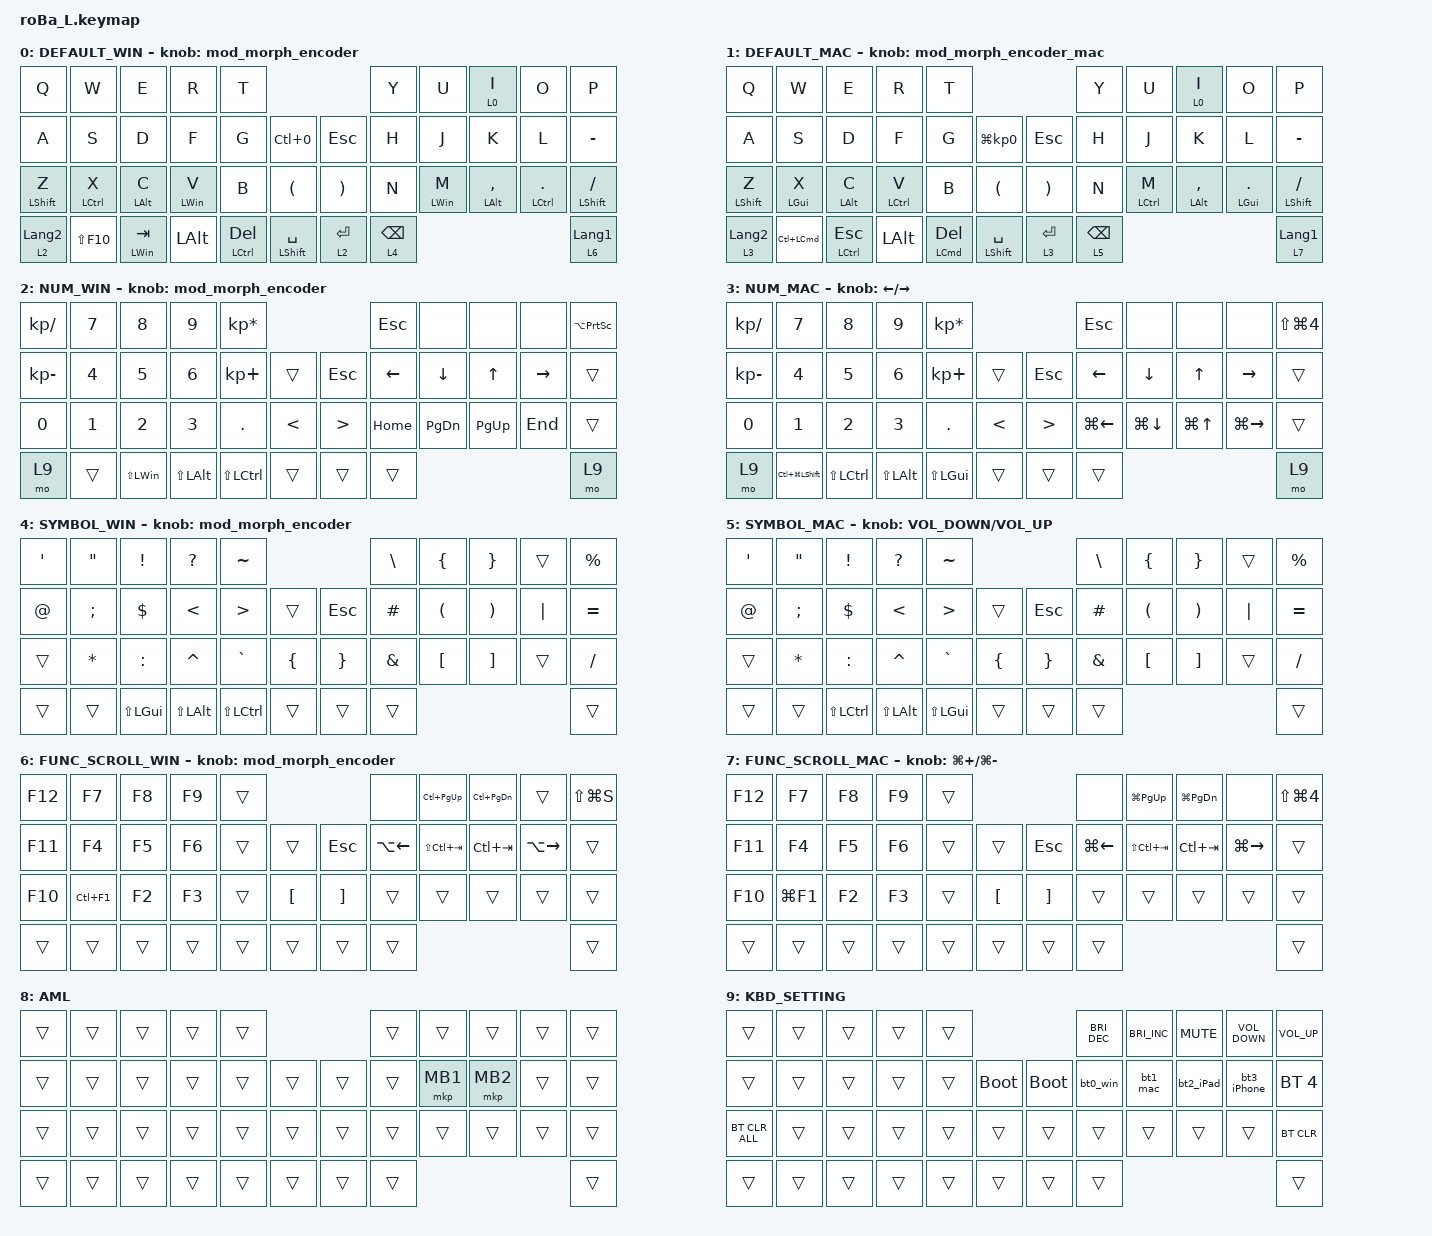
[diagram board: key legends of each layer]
#include <behaviors.dtsi>
#include <dt-bindings/zmk/bt.h>
#include <dt-bindings/zmk/keys.h>
#include <dt-bindings/zmk/pointing.h>

#define DEFAULT_WIN 0
#define DEFAULT_MAC 1
#define NUM_WIN 2
#define NUM_MAC 3
#define SYMBOL_WIN 4
#define SYMBOL_MAC 5
#define FUNC_SCROLL_WIN 6
#define FUNC_SCROLL_MAC 7
#define AML 8
#define KBD_SETTING 9

// ロータリーエンコーダー: スクロール量変更の定義を追記

#undef ZMK_POINTING_DEFAULT_SCRL_VAL  // 定義を削除
#define ZMK_POINTING_DEFAULT_SCRL_VAL 120

//マウスカーソルの挙動設定

&mmv {
    delay-ms = <20>;
    trigger-period-ms = <5>;
    time-to-max-speed-ms = <200>;

    // acceleration-exponent = <0>;
};

//マウススクロールの挙動設定

&msc {
    delay-ms = <3>;
    trigger-period-ms = <3>;
    time-to-max-speed-ms = <200>;

    // acceleration-exponent = <0>;
};

&mt {
    flavor = "balanced";
    tapping-term-ms = <180>;
    quick-tap-ms = <180>;
    hold-while-undecided;
};

&lt {
    flavor = "balanced";
    tapping-term-ms = <180>;
    quick-tap-ms = <180>;
    hold-while-undecided;
};

/ {
    combos {
        compatible = "zmk,combos";

        tab {
            bindings = <&kp TAB>;
            key-positions = <11 12>;
        };

        shift_tab {
            bindings = <&kp LS(TAB)>;
            key-positions = <12 13>;
        };

        Esc {
            bindings = <&kp ESCAPE>;
            key-positions = <0 1>;
        };

        middle_click {
            bindings = <&mkp MCLK>;
            key-positions = <18 19>;
        };

        backspace {
            bindings = <&kp BACKSPACE>;
            key-positions = <8 9>;
        };

        Globe {
            bindings = <&kp RIGHT_ALT>;
            key-positions = <34 42>;
        };
    };

    macros {
        to_layer_0: to_layer_0 {
            compatible = "zmk,behavior-macro-one-param";
            #binding-cells = <1>;
            bindings = <&to 0 &macro_param_1to1 &kp MACRO_PLACEHOLDER>;
            label = "TO_LAYER_0";
        };

        bt0_win: bt0 {
            compatible = "zmk,behavior-macro";
            #binding-cells = <0>;
            bindings =
                <&tog_off 1>,
                <&macro_wait_time 200>,
                <&bt BT_SEL 0 &bt BT_DISC 1 &bt BT_DISC 2 &bt BT_DISC 3 &bt BT_DISC 4>;

            label = "BT0";
        };

        bt1_mac: bt1 {
            compatible = "zmk,behavior-macro";
            #binding-cells = <0>;
            bindings =
                <&tog_off 1>,
                <&macro_wait_time 200>,
                <&bt BT_SEL 1 &bt BT_DISC 0 &bt BT_DISC 2 &bt BT_DISC 3 &bt BT_DISC 4>,
                <&macro_wait_time 500>,
                <&tog_on 1>;

            label = "BT1";
        };

        bt2_iPad: bt2_iPad {
            compatible = "zmk,behavior-macro";
            #binding-cells = <0>;
            bindings =
                <&tog_off 1>,
                <&macro_wait_time 200>,
                <&bt BT_SEL 2 &bt BT_DISC 0 &bt BT_DISC 1 &bt BT_DISC 3 &bt BT_DISC 4>,
                <&macro_wait_time 500>,
                <&tog_on 1>;

            label = "BT2_IPAD";
        };

        bt3_iPhone: bt3_iPhone {
            compatible = "zmk,behavior-macro";
            #binding-cells = <0>;
            bindings =
                <&tog_off 1>,
                <&macro_wait_time 200>,
                <&bt BT_SEL 3 &bt BT_DISC 0 &bt BT_DISC 1 &bt BT_DISC 2 &bt BT_DISC 4>,
                <&macro_wait_time 500>,
                <&tog_on 1>;

            label = "BT3_IPHONE";
        };

        // AML起動中にスクロールレイヤに入るためのマクロ(zaruSaruさん実装)

        to_scroll_layer_win: to_scroll_layer_win {
            compatible = "zmk,behavior-macro";
            #binding-cells = <0>;
            bindings =
                <&to FUNC_SCROLL_WIN>,
                <&macro_press>,
                <&mo FUNC_SCROLL_WIN>,
                <&macro_pause_for_release>,
                <&macro_release>,
                <&mo FUNC_SCROLL_WIN>;

            label = "TO_SCROLL_LAYER_WIN";
        };

        to_scroll_layer_mac: to_scroll_layer_mac {
            compatible = "zmk,behavior-macro";
            #binding-cells = <0>;
            bindings =
                <&to FUNC_SCROLL_MAC>,
                <&macro_press>,
                <&mo FUNC_SCROLL_MAC>,
                <&macro_pause_for_release>,
                <&macro_release>,
                <&mo FUNC_SCROLL_MAC>;

            label = "TO_SCROLL_LAYER_MAC";
        };

        // タップ時のみAML解除するための設定

        exit_AML: exit_AML {
            compatible = "zmk,behavior-macro";
            wait-ms = <0>;
            tap-ms = <0>;
            #binding-cells = <0>;
            bindings = <&tog_off AML>;
            label = "exit_AML";
        };

        kp_exit_AML: kp_exit_AML {
            compatible = "zmk,behavior-macro-one-param";
            wait-ms = <0>;
            tap-ms = <0>;
            #binding-cells = <1>;
            bindings = <&macro_param_1to1 &kp MACRO_PLACEHOLDER &exit_AML>;
            label = "KP_exit_AML";
        };
    };

    behaviors {
        lt_to_layer_0: lt_to_layer_0 {
            compatible = "zmk,behavior-hold-tap";
            label = "LAYER_TAP_TO_0";
            bindings = <&mo>, <&to_layer_0>;

            #binding-cells = <2>;
            tapping-term-ms = <200>;
        };

        // タップ時のみAML解除するための設定

        mt_exit_AML_on_tap: mt_exit_AML_on_tap {
            compatible = "zmk,behavior-hold-tap";
            label = "MT_exit_AML_ON_TAP";
            bindings = <&kp>, <&kp_exit_AML>;

            #binding-cells = <2>;
            tapping-term-ms = <200>;
            flavor = "balanced";
            quick-tap-ms = <200>;
        };

        // ロータリーエンコーダーでスクロールする設定
        // スクロール方向を逆にしたい場合は <&msc SCRL_DOWN> と <&msc SCRL_UP> を入れ替え
        // 使い方: 設定したいレイヤーに sensor-bindings = <&encoder_msc_down_up>; を追記
        // mac用

        encoder_msc_down_up: encoder_msc_down_up {
            compatible = "zmk,behavior-sensor-rotate";
            label = "ENCODER_MSC_DOWN_UP";
            #sensor-binding-cells = <0>;
            bindings = <&msc SCRL_DOWN>, <&msc SCRL_UP>;

            tap-ms = <20>;
        };

        //
        // windows用

        encoder_msc_up_down: encoder_msc_up_down {
            compatible = "zmk,behavior-sensor-rotate";
            label = "ENCODER_MSC_UP_DOWN";
            #sensor-binding-cells = <0>;
            bindings = <&msc SCRL_UP>, <&msc SCRL_DOWN>;

            tap-ms = <20>;
        };

        // Ctrl+スクロール (Windows用)

        encoder_msc_ctrl_up_down: encoder_msc_ctrl_up_down {
            compatible = "zmk,behavior-sensor-rotate";
            label = "ENCODER_MSC_CTRL_UP_DOWN";
            #sensor-binding-cells = <0>;
            bindings = <&sk LCTRL &msc SCRL_UP>, <&sk LCTRL &msc SCRL_DOWN>;
        };

        // 接続先に応じてデフォルトレイヤーを変更するための動作
        // zmk studioで接続先ごとにマクロ設定する。

        tog_on: toggle_layer_on_only {
            compatible = "zmk,behavior-toggle-layer";
            #binding-cells = <1>;
            display-name = "Toggle Layer On";
            toggle-mode = "on";
        };

        tog_off: toggle_layer_off_only {
            compatible = "zmk,behavior-toggle-layer";
            #binding-cells = <1>;
            display-name = "Toggle Layer Off";
            toggle-mode = "off";
        };

        // リピート付きのSpace and Shift

        sands: space_and_shift {
            compatible = "zmk,behavior-hold-tap";
            label = "SPACE_AND_SHIFT";
            #binding-cells = <2>;
            flavor = "tap-unless-interrupted";
            tapping-term-ms = <220>;
            quick-tap-ms = <125>;
            global-quick-tap;
            bindings = <&kp>, <&kp>;
        };

        mtandkp: mt_and_kp {
            compatible = "zmk,behavior-hold-tap";
            label = "MT_AND_KP";
            #binding-cells = <2>;
            flavor = "tap-unless-interrupted";
            tapping-term-ms = <220>;
            quick-tap-ms = <125>;
            global-quick-tap;
            bindings = <&mt>, <&kp>;
        };

        ltandkp: lt_and_kp {
            compatible = "zmk,behavior-hold-tap";
            label = "LT_AND_KP";
            #binding-cells = <2>;
            flavor = "tap-unless-interrupted";
            tapping-term-ms = <220>;
            quick-tap-ms = <125>;
            global-quick-tap;
            bindings = <&lt>, <&kp>;
        };

        // mod morphを使用したエンコーダーの挙動制御
        // Windows用
        // デフォルト: スクロール
        // Shift: Shift+←/→
        // Alt: Win+↑/↓
        // Ctrl: Win+←/→

        shift_p: shift_p {
            compatible = "zmk,behavior-mod-morph";
            #binding-cells = <0>;
            bindings = <&kp 0>, <&kp LG(LEFT)>;

            mods = <(MOD_LSFT|MOD_RSFT)>;
            keep-mods = <(MOD_LSFT)>;
        };

        shift_default_p: shift_default_p {
            compatible = "zmk,behavior-mod-morph";
            #binding-cells = <0>;
            bindings = <&msc SCRL_DOWN>, <&shift_p>;

            mods = <(MOD_LSFT|MOD_RSFT)>;
        };

        alt_p: alt_p {
            compatible = "zmk,behavior-mod-morph";
            #binding-cells = <0>;
            bindings = <&kp 0>, <&kp LG(UP)>;

            mods = <(MOD_LALT|MOD_RALT)>;
        };

        win_p: win_p {
            compatible = "zmk,behavior-mod-morph";
            #binding-cells = <0>;
            bindings = <&kp 0>, <&kp LG(LEFT)>;

            mods = <(MOD_LGUI|MOD_RGUI)>;
        };

        alt_win_p: alt_win_p {
            compatible = "zmk,behavior-mod-morph";
            #binding-cells = <0>;
            bindings = <&alt_p>, <&win_p>;

            mods = <(MOD_LGUI|MOD_RGUI)>;
        };

        mod_morph_encoder_p: mod_morph_encoder_p {
            compatible = "zmk,behavior-mod-morph";
            #binding-cells = <0>;
            bindings = <&shift_default_p>, <&alt_win_p>;

            mods = <(MOD_LALT|MOD_RALT|MOD_LGUI|MOD_RGUI)>;
        };

        shift_n: shift_n {
            compatible = "zmk,behavior-mod-morph";
            #binding-cells = <0>;
            bindings = <&kp 0>, <&kp LG(RIGHT)>;

            mods = <(MOD_LSFT|MOD_RSFT)>;
            keep-mods = <(MOD_LSFT)>;
        };

        shift_default_n: shift_default_n {
            compatible = "zmk,behavior-mod-morph";
            #binding-cells = <0>;
            bindings = <&msc SCRL_UP>, <&shift_n>;

            mods = <(MOD_LSFT|MOD_RSFT)>;
        };

        alt_n: alt_n {
            compatible = "zmk,behavior-mod-morph";
            #binding-cells = <0>;
            bindings = <&kp 0>, <&kp LG(DOWN)>;

            mods = <(MOD_LALT|MOD_RALT)>;
        };

        win_n: win_n {
            compatible = "zmk,behavior-mod-morph";
            #binding-cells = <0>;
            bindings = <&kp 0>, <&kp LG(RIGHT)>;

            mods = <(MOD_LGUI|MOD_RGUI)>;
        };

        alt_win_n: alt_win_n {
            compatible = "zmk,behavior-mod-morph";
            #binding-cells = <0>;
            bindings = <&alt_n>, <&win_n>;

            mods = <(MOD_LGUI|MOD_RGUI)>;
        };

        mod_morph_encoder_n: mod_morph_encoder_n {
            compatible = "zmk,behavior-mod-morph";
            #binding-cells = <0>;
            bindings = <&shift_default_n>, <&alt_win_n>;

            mods = <(MOD_LALT|MOD_RALT|MOD_LGUI|MOD_RGUI)>;
        };

        mod_morph_encoder: mod_morph_encoder {
            compatible = "zmk,behavior-sensor-rotate";
            #sensor-binding-cells = <0>;
            bindings = <&mod_morph_encoder_n>, <&mod_morph_encoder_p>;

            tap-ms = <20>;
        };

        // Mac用
        // デフォルト: スクロール
        // GUI: command + +/-
        // Shift: Shift+←/→
        // Alt: Win+↑/↓
        // Ctrl: Win+←/→
        // positive: 手前

        gui_p: gui_p {
            compatible = "zmk,behavior-mod-morph";
            #binding-cells = <0>;
            bindings = <&kp DELETE>, <&kp LG(PLUS)>;

            mods = <(MOD_LGUI|MOD_RGUI)>;

            // keep-mods = <(MOD_LGUI)>;
        };

        sftgui_default_p: sftgui_default_p {
            compatible = "zmk,behavior-mod-morph";
            #binding-cells = <0>;
            bindings = <&msc SCRL_DOWN>, <&gui_p>;

            mods = <(MOD_LGUI|MOD_RGUI|MOD_LSFT|MOD_RSFT)>;
        };

        ctrl_p: ctrl_p {
            compatible = "zmk,behavior-mod-morph";
            #binding-cells = <0>;
            bindings = <&kp 0>, <&kp LA(LC(LG(RIGHT)))>;

            mods = <(MOD_LCTL|MOD_RCTL)>;

            // keep-mods = <(MOD_LALT|MOD_LCTL)>;
        };

        opt_p: opt_p {
            compatible = "zmk,behavior-mod-morph";
            #binding-cells = <0>;
            bindings = <&kp 0>, <&kp LA(LC(LG(DOWN)))>;

            mods = <(MOD_LALT|MOD_RALT)>;

            // keep-mods = <(MOD_LALT|MOD_LCTL)>;
        };

        opt_ctrl_p: opt_ctrl_p {
            compatible = "zmk,behavior-mod-morph";
            #binding-cells = <0>;
            bindings = <&ctrl_p>, <&opt_p>;

            mods = <(MOD_LALT|MOD_RALT)>;
        };

        mod_morph_encoder_mac_p: mod_morph_encoder_mac_p {
            compatible = "zmk,behavior-mod-morph";
            #binding-cells = <0>;
            bindings = <&sftgui_default_p>, <&opt_ctrl_p>;

            mods = <(MOD_LALT|MOD_RALT|MOD_LCTL|MOD_RCTL)>;
        };

        // negative: 奥

        gui_n: gui_n {
            compatible = "zmk,behavior-mod-morph";
            #binding-cells = <0>;
            bindings = <&kp BACKSPACE>, <&kp LG(MINUS)>;

            mods = <(MOD_LGUI|MOD_RGUI)>;

            // keep-mods = <(MOD_LGUI)>;
        };

        sftgui_default_n: sftgui_default_n {
            compatible = "zmk,behavior-mod-morph";
            #binding-cells = <0>;
            bindings = <&msc SCRL_UP>, <&gui_n>;

            mods = <(MOD_LGUI|MOD_RGUI|MOD_LSFT|MOD_RSFT)>;
        };

        ctrl_n: ctrl_n {
            compatible = "zmk,behavior-mod-morph";
            #binding-cells = <0>;
            bindings = <&kp 0>, <&kp LA(LC(LG(LEFT)))>;

            mods = <(MOD_LCTL|MOD_RCTL)>;

            // keep-mods = <(MOD_LALT|MOD_LCTL)>;
        };

        opt_n: opt_n {
            compatible = "zmk,behavior-mod-morph";
            #binding-cells = <0>;
            bindings = <&kp 0>, <&kp LA(LC(LG(UP)))>;

            mods = <(MOD_LALT|MOD_RALT)>;

            // keep-mods = <(MOD_LALT|MOD_LCTL)>;
        };

        opt_ctrl_n: opt_ctrl_n {
            compatible = "zmk,behavior-mod-morph";
            #binding-cells = <0>;
            bindings = <&ctrl_n>, <&opt_n>;

            mods = <(MOD_LALT|MOD_RALT)>;
        };

        mod_morph_encoder_mac_n: mod_morph_encoder_mac_n {
            compatible = "zmk,behavior-mod-morph";
            #binding-cells = <0>;
            bindings = <&sftgui_default_n>, <&opt_ctrl_n>;

            mods = <(MOD_LALT|MOD_RALT|MOD_LCTL|MOD_RCTL)>;
        };

        mod_morph_encoder_mac: mod_morph_encoder_mac {
            compatible = "zmk,behavior-sensor-rotate";
            #sensor-binding-cells = <0>;
            bindings = <&mod_morph_encoder_mac_p>, <&mod_morph_encoder_mac_n>;

            tap-ms = <20>;
        };

        td_LT6_Lang1_and_MO4: td_LT6_Lang1_and_MO4 {
            compatible = "zmk,behavior-tap-dance";
            label = "TD_LT6_LANG1_AND_MO4";
            #binding-cells = <0>;
            bindings = <&lt 6 LANGUAGE_1>, <&mo 4>;

            tapping-term-ms = <240>;
        };

        td_mt_left_ctrl: td_mt_left_ctrl {
            compatible = "zmk,behavior-tap-dance";
            label = "TD_MT_LEFT_CTRL";
            #binding-cells = <0>;
            bindings =
                <&mt_exit_AML_on_tap LCTRL X>,
                <&mt_exit_AML_on_tap LS(LCTRL) X>;
        };

        td_mt_right_ctrl: td_mt_right_ctrl {
            compatible = "zmk,behavior-tap-dance";
            label = "TD_MT_RIGHT_CTRL";
            #binding-cells = <0>;
            bindings =
                <&mt_exit_AML_on_tap LCTRL PERIOD>,
                <&mt_exit_AML_on_tap LS(LCTRL) PERIOD>;
        };

        td_mt_left_alt: td_mt_left_alt {
            compatible = "zmk,behavior-tap-dance";
            label = "TD_MT_LEFT_ALT";
            #binding-cells = <0>;
            bindings =
                <&mt_exit_AML_on_tap LEFT_ALT C>,
                <&mt_exit_AML_on_tap LS(LALT) C>;
        };

        td_mt_right_alt: td_mt_right_alt {
            compatible = "zmk,behavior-tap-dance";
            label = "TD_MT_RIGHT_ALT";
            #binding-cells = <0>;
            bindings =
                <&mt_exit_AML_on_tap LEFT_ALT COMMA>,
                <&mt_exit_AML_on_tap LS(LALT) COMMA>;
        };

        td_mt_left_win: td_mt_left_win {
            compatible = "zmk,behavior-tap-dance";
            label = "TD_MT_LEFT_WIN";
            #binding-cells = <0>;
            bindings =
                <&mt_exit_AML_on_tap LEFT_WIN V>,
                <&mt_exit_AML_on_tap LS(LEFT_WIN) V>;
        };

        td_mt_right_win: td_mt_right_win {
            compatible = "zmk,behavior-tap-dance";
            label = "TD_MT_RIGHT_WIN";
            #binding-cells = <0>;
            bindings =
                <&mt_exit_AML_on_tap LEFT_WIN M>,
                <&mt_exit_AML_on_tap LS(LEFT_WIN) M>;
        };
    };

    keymap {
        compatible = "zmk,keymap";

        DEFAULT_WIN {
            bindings = <
&kp Q                             &kp W                        &kp E                           &kp R                           &kp T                                                                                              &kp Y            &kp U                           &lt 0 I                             &kp O                             &kp P
&kp A                             &kp S                        &kp D                           &kp F                           &kp G                             &kp LC(N0)                                &kp ESCAPE             &kp H            &kp J                           &kp K                               &kp L                             &kp MINUS
&mt_exit_AML_on_tap LEFT_SHIFT Z  &mt_exit_AML_on_tap LCTRL X  &mt_exit_AML_on_tap LEFT_ALT C  &mt_exit_AML_on_tap LEFT_WIN V  &kp B                             &kp LEFT_PARENTHESIS                      &kp RIGHT_PARENTHESIS  &kp N            &mt_exit_AML_on_tap LEFT_WIN M  &mt_exit_AML_on_tap LEFT_ALT COMMA  &mt_exit_AML_on_tap LCTRL PERIOD  &mt_exit_AML_on_tap LEFT_SHIFT SLASH
&lt 2 LANGUAGE_2                  &kp LS(F10)                  &mt LEFT_WIN TAB                &kp LEFT_ALT                    &mt_exit_AML_on_tap LCTRL DELETE  &mt_exit_AML_on_tap LEFT_SHIFT SPACE      &lt 2 ENTER            &lt 4 BACKSPACE                                                                                                        &lt 6 LANGUAGE_1
            >;

            sensor-bindings = <&mod_morph_encoder>;
        };

        DEFAULT_MAC {
            bindings = <
&kp Q                             &kp W                           &kp E                           &kp R                               &kp T                                                                                                     &kp Y            &kp U                               &lt 0 I                             &kp O                             &kp P
&kp A                             &kp S                           &kp D                           &kp F                               &kp G                                    &kp LG(KP_NUMBER_0)                       &kp ESCAPE             &kp H            &kp J                               &kp K                               &kp L                             &kp MINUS
&mt_exit_AML_on_tap LEFT_SHIFT Z  &mt_exit_AML_on_tap LEFT_GUI X  &mt_exit_AML_on_tap LEFT_ALT C  &mt_exit_AML_on_tap LEFT_CONTROL V  &kp B                                    &kp LEFT_PARENTHESIS                      &kp RIGHT_PARENTHESIS  &kp N            &mt_exit_AML_on_tap LEFT_CONTROL M  &mt_exit_AML_on_tap LEFT_ALT COMMA  &mt_exit_AML_on_tap LEFT_GUI DOT  &mt_exit_AML_on_tap LEFT_SHIFT SLASH
&lt 3 LANGUAGE_2                  &kp LC(LEFT_COMMAND)            &mt LEFT_CONTROL ESCAPE         &kp LEFT_ALT                        &mt_exit_AML_on_tap LEFT_COMMAND DELETE  &mt_exit_AML_on_tap LEFT_SHIFT SPACE      &lt 3 ENTER            &lt 5 BACKSPACE                                                                                                            &lt 7 LANGUAGE_1
            >;

            sensor-bindings = <&mod_morph_encoder_mac>;
        };

        NUM_WIN {
            bindings = <
&kp KP_DIVIDE  &kp N7  &kp N8            &kp N9            &kp KP_MULTIPLY                                            &kp ESCAPE  &none          &none        &none      &kp LA(PRINTSCREEN)
&kp KP_MINUS   &kp N4  &kp N5            &kp N6            &kp KP_PLUS           &trans             &kp ESCAPE        &kp LEFT    &kp DOWN       &kp UP       &kp RIGHT  &trans
&kp N0         &kp N1  &kp N2            &kp N3            &kp PERIOD            &kp LESS_THAN      &kp GREATER_THAN  &kp HOME    &kp PAGE_DOWN  &kp PAGE_UP  &kp END    &trans
&mo 9          &trans  &kp LS(LEFT_WIN)  &kp LS(LEFT_ALT)  &kp LS(LEFT_CONTROL)  &trans             &trans            &trans                                             &mo 9
            >;

            sensor-bindings = <&mod_morph_encoder>;
        };

        NUM_MAC {
            bindings = <
&kp KP_DIVIDE  &kp N7                  &kp N8                &kp N9            &kp KP_MULTIPLY                                        &kp ESCAPE    &none         &none       &none          &kp LS(LG(NUMBER_4))
&kp KP_MINUS   &kp N4                  &kp N5                &kp N6            &kp KP_PLUS       &trans             &kp ESCAPE        &kp LEFT      &kp DOWN      &kp UP      &kp RIGHT      &trans
&kp N0         &kp N1                  &kp N2                &kp N3            &kp PERIOD        &kp LESS_THAN      &kp GREATER_THAN  &kp LG(LEFT)  &kp LG(DOWN)  &kp LG(UP)  &kp LG(RIGHT)  &trans
&mo 9          &kp LC(LG(LEFT_SHIFT))  &kp LS(LEFT_CONTROL)  &kp LS(LEFT_ALT)  &kp LS(LEFT_GUI)  &trans             &trans            &trans                                                 &mo 9
            >;

            sensor-bindings = <&inc_dec_kp LEFT RIGHT>;
        };

        SYMBOL_WIN {
            bindings = <
&kp SQT      &kp DOUBLE_QUOTES  &kp EXCLAMATION   &kp QUESTION      &kp TILDE                                              &kp BACKSLASH  &kp LEFT_BRACE        &kp RIGHT_BRACE        &trans    &kp PERCENT
&kp AT_SIGN  &kp SEMICOLON      &kp DOLLAR        &kp LESS_THAN     &kp GREATER_THAN  &trans              &kp ESCAPE       &kp HASH       &kp LEFT_PARENTHESIS  &kp RIGHT_PARENTHESIS  &kp PIPE  &kp EQUAL
&trans       &kp ASTERISK       &kp COLON         &kp CARET         &kp GRAVE         &kp LEFT_BRACE      &kp RIGHT_BRACE  &kp AMPERSAND  &kp LEFT_BRACKET      &kp RIGHT_BRACKET      &trans    &kp SLASH
&trans       &trans             &kp LS(LEFT_GUI)  &kp LS(LEFT_ALT)  &kp LS(LCTRL)     &trans              &trans           &trans                                                                &trans
            >;

            sensor-bindings = <&mod_morph_encoder>;
        };

        SYMBOL_MAC {
            bindings = <
&kp SQT      &kp DOUBLE_QUOTES  &kp EXCLAMATION  &kp QUESTION      &kp TILDE                                              &kp BACKSLASH  &kp LEFT_BRACE        &kp RIGHT_BRACE        &trans    &kp PERCENT
&kp AT_SIGN  &kp SEMICOLON      &kp DOLLAR       &kp LESS_THAN     &kp GREATER_THAN  &trans              &kp ESCAPE       &kp HASH       &kp LEFT_PARENTHESIS  &kp RIGHT_PARENTHESIS  &kp PIPE  &kp EQUAL
&trans       &kp ASTERISK       &kp COLON        &kp CARET         &kp GRAVE         &kp LEFT_BRACE      &kp RIGHT_BRACE  &kp AMPERSAND  &kp LEFT_BRACKET      &kp RIGHT_BRACKET      &trans    &kp SLASH
&trans       &trans             &kp LS(LCTRL)    &kp LS(LEFT_ALT)  &kp LS(LEFT_GUI)  &trans              &trans           &trans                                                                &trans
            >;

            sensor-bindings = <&inc_dec_kp C_VOLUME_DOWN C_VOLUME_UP>;
        };

        FUNC_SCROLL_WIN {
            bindings = <
&kp F12  &kp F7      &kp F8  &kp F9  &trans                                           &none         &kp LC(PAGE_UP)  &kp LC(PAGE_DOWN)  &trans         &kp LS(LG(S))
&kp F11  &kp F4      &kp F5  &kp F6  &trans  &trans                &kp ESCAPE         &kp LA(LEFT)  &kp LS(LC(TAB))  &kp LC(TAB)        &kp LA(RIGHT)  &trans
&kp F10  &kp LC(F1)  &kp F2  &kp F3  &trans  &kp LEFT_BRACKET      &kp RIGHT_BRACKET  &trans        &trans           &trans             &trans         &trans
&trans   &trans      &trans  &trans  &trans  &trans                &trans             &trans                                                           &trans
            >;

            sensor-bindings = <&mod_morph_encoder>;
        };

        FUNC_SCROLL_MAC {
            bindings = <
&kp F12  &kp F7      &kp F8  &kp F9  &trans                                           &none         &kp LG(PAGE_UP)  &kp LG(PAGE_DOWN)  &none          &kp LS(LG(NUMBER_4))
&kp F11  &kp F4      &kp F5  &kp F6  &trans  &trans                &kp ESCAPE         &kp LG(LEFT)  &kp LS(LC(TAB))  &kp LC(TAB)        &kp LG(RIGHT)  &trans
&kp F10  &kp LG(F1)  &kp F2  &kp F3  &trans  &kp LEFT_BRACKET      &kp RIGHT_BRACKET  &trans        &trans           &trans             &trans         &trans
&trans   &trans      &trans  &trans  &trans  &trans                &trans             &trans                                                           &trans
            >;

            sensor-bindings = <&inc_dec_kp LG(PLUS) LG(MINUS)>;
        };

        AML {
            bindings = <
&trans  &trans  &trans  &trans  &trans                      &trans  &trans    &trans    &trans  &trans
&trans  &trans  &trans  &trans  &trans  &trans      &trans  &trans  &mkp MB1  &mkp MB2  &trans  &trans
&trans  &trans  &trans  &trans  &trans  &trans      &trans  &trans  &trans    &trans    &trans  &trans
&trans  &trans  &trans  &trans  &trans  &trans      &trans  &trans                              &trans
            >;
        };

        KBD_SETTING {
            bindings = <
&trans          &trans  &trans  &trans  &trans                                &kp C_BRIGHTNESS_DEC  &kp C_BRIGHTNESS_INC  &kp K_MUTE  &kp C_VOLUME_DOWN  &kp C_VOLUME_UP
&trans          &trans  &trans  &trans  &trans  &bootloader      &bootloader  &bt0_win              &bt1_mac              &bt2_iPad   &bt3_iPhone        &bt BT_SEL 4
&bt BT_CLR_ALL  &trans  &trans  &trans  &trans  &trans           &trans       &trans                &trans                &trans      &trans             &bt BT_CLR
&trans          &trans  &trans  &trans  &trans  &trans           &trans       &trans                                                                     &trans
            >;
        };
    };
};
